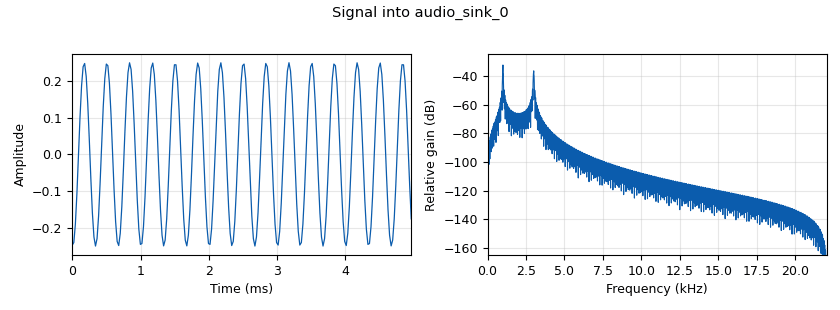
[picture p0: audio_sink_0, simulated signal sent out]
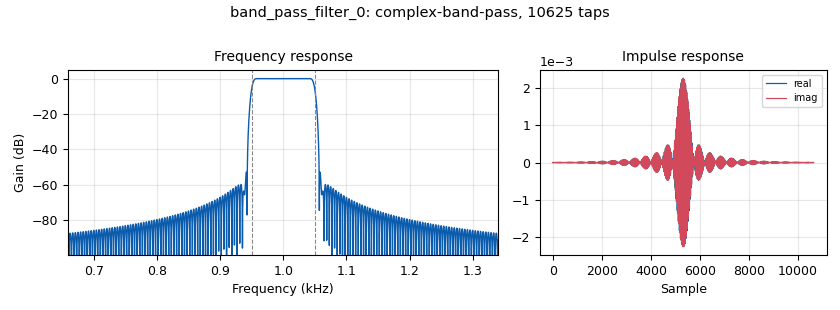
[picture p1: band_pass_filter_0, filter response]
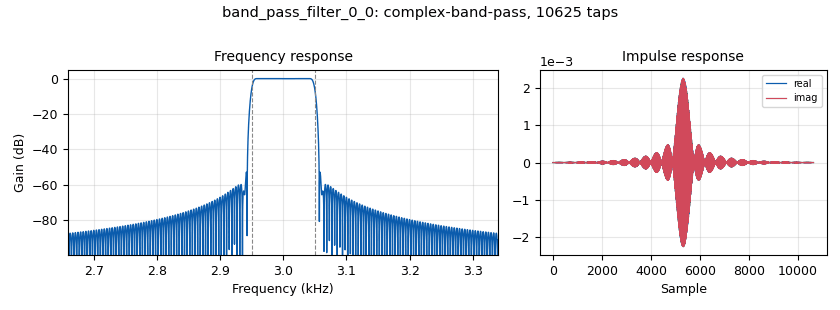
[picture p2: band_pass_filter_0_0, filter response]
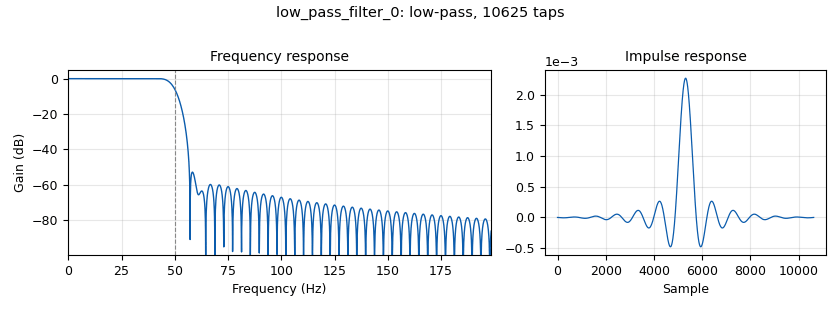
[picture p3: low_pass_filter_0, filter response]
options:
  parameters:
    author: Barry Duggan
    comment: 'Source: https://github.com/duggabe/gr-control/blob/main/Transmitters/pkt_fsk_xmt_rcv.grc'
    description: packet FSK xmt rcv v1
    generate_options: qt_gui
    id: pkt_fsk_xmt_rcv_v1
    output_language: python
    title: pkt_fsk_xmt_rcv_v1
  states: {}

blocks:
- name: baud
  id: variable
  parameters:
    value: '100'
  states: {}
- name: baud_rate_slider
  id: variable_qtgui_range
  parameters:
    rangeType: int
    start: '10'
    step: '1'
    stop: '4000'
    value: '50'
  states: {}
- name: bpf_half_width_Hz
  id: variable_qtgui_range
  parameters:
    rangeType: int
    start: '10'
    step: '1'
    stop: '200'
    value: '50'
  states: {}
- name: center
  id: variable
  parameters:
    value: (mark+space)/2
  states: {}
- name: decim
  id: variable
  parameters:
    value: '20'
  states: {}
- name: fsk_deviation
  id: variable
  parameters:
    value: (abs)(mark-space)
  states: {}
- name: inp_amp
  id: variable
  parameters:
    value: (mark/vco_max)-vco_offset
  states: {}
- name: lpf_cutoff_Hz
  id: variable_qtgui_range
  parameters:
    rangeType: int
    start: '1'
    step: '1'
    stop: '200'
    value: '50'
  states: {}
- name: mark
  id: variable
  parameters:
    value: '1000'
  states: {}
- name: phase_bw
  id: variable
  parameters:
    value: math.pi/32
  states: {}
- name: repeat
  id: variable
  parameters:
    value: (int)(samp_rate/baud_rate_slider)
  states: {}
- name: samp_rate
  id: variable
  parameters:
    comment: |-
      |----------------------------------------------------------------------------------------->
      User set values
    value: '44100'
  states: {}
- name: space
  id: variable
  parameters:
    value: '3000'
  states: {}
- name: sps
  id: variable
  parameters:
    value: (int)(repeat/decim)
  states: {}
- name: thresh
  id: variable
  parameters:
    value: '1'
  states: {}
- name: vco_max
  id: variable
  parameters:
    value: center+fsk_deviation
  states: {}
- name: vco_offset
  id: variable
  parameters:
    value: space/vco_max
  states: {}
- name: analog_random_uniform_source_x_0
  id: analog_random_uniform_source_x
  parameters:
    maximum: '255'
    minimum: '0'
    seed: '0'
    type: byte
  states: {state: disabled}
- name: audio_sink_0
  id: audio_sink
  parameters:
    samp_rate: samp_rate
  states: {}
- name: audio_source_0
  id: audio_source
  parameters:
    samp_rate: samp_rate
  states: {}
- name: band_pass_filter_0
  id: band_pass_filter
  parameters:
    decim: '1'
    gain: '1'
    high_cutoff_freq: mark+bpf_half_width_Hz
    low_cutoff_freq: mark-bpf_half_width_Hz
    samp_rate: samp_rate
    type: fir_filter_fcc
    width: '10'
    win: window.WIN_HAMMING
  states: {}
- name: band_pass_filter_0_0
  id: band_pass_filter
  parameters:
    decim: '1'
    gain: '1'
    high_cutoff_freq: space+bpf_half_width_Hz
    low_cutoff_freq: space-bpf_half_width_Hz
    samp_rate: samp_rate
    type: fir_filter_fcc
    width: '10'
    win: window.WIN_HAMMING
  states: {}
- name: blocks_add_const_vxx_0
  id: blocks_add_const_vxx
  parameters:
    comment: vco_offset
    const: vco_offset
    type: float
  states: {}
- name: blocks_char_to_float_0
  id: blocks_char_to_float
  parameters:
    scale: '1'
  states: {}
- name: blocks_complex_to_mag_0
  id: blocks_complex_to_mag
  parameters: {}
  states: {}
- name: blocks_complex_to_mag_0_0
  id: blocks_complex_to_mag
  parameters: {}
  states: {}
- name: blocks_multiply_const_vxx_0
  id: blocks_multiply_const_vxx
  parameters:
    comment: inp_amp
    const: inp_amp
    type: float
  states: {}
- name: blocks_repack_bits_bb_1_0
  id: blocks_repack_bits_bb
  parameters:
    endianness: gr.GR_MSB_FIRST
    k: '8'
    l: '1'
    len_tag_key: ''
  states: {}
- name: blocks_repack_bits_bb_1_0_0
  id: blocks_repack_bits_bb
  parameters:
    endianness: gr.GR_MSB_FIRST
    k: '8'
    l: '1'
    len_tag_key: ''
  states: {}
- name: blocks_repack_bits_bb_1_0_0_0
  id: blocks_repack_bits_bb
  parameters:
    endianness: gr.GR_MSB_FIRST
    k: '1'
    l: '8'
    len_tag_key: ''
  states: {}
- name: blocks_repeat_0
  id: blocks_repeat
  parameters:
    interp: repeat*2
    type: byte
  states: {}
- name: blocks_repeat_0_0
  id: blocks_repeat
  parameters:
    interp: repeat
    type: byte
  states: {}
- name: blocks_sub_xx_0
  id: blocks_sub_xx
  parameters:
    type: float
  states: {}
- name: blocks_uchar_to_float_0
  id: blocks_uchar_to_float
  parameters: {}
  states: {}
- name: blocks_vco_f_0
  id: blocks_vco_f
  parameters:
    amplitude: '0.25'
    samp_rate: samp_rate
    sensitivity: 2*math.pi*vco_max
  states: {}
- name: blocks_vector_source_x_0
  id: blocks_vector_source_x
  parameters:
    repeat: 'True'
    type: byte
    vector: (0x55, 0x55, 0x55)
  states: {}
- name: blocks_vector_source_x_0_0
  id: blocks_vector_source_x
  parameters:
    repeat: 'True'
    type: byte
    vector: (0x01, 0x02, 0x03, 0x04, 0x05, 0x06)
  states: {}
- name: blocks_xor_xx_0
  id: blocks_xor_xx
  parameters:
    type: byte
  states: {}
- name: digital_binary_slicer_fb_0
  id: digital_binary_slicer_fb
  parameters: {}
  states: {}
- name: epy_block_0
  id: epy_block
  parameters:
    _source_code: "\"\"\"\nEmbedded Python Blocks:\n\nEach time this file is saved, GRC will instantiate the first class it finds\nto get ports and parameters of your block. The arguments to __init__  will\nbe the parameters. All of them are required to have default values!\n\"\"\"\n\nimport numpy as np\nfrom gnuradio import gr\n\n\nclass ManchesterDecoder(gr.sync_block):\n    \"\"\"\n    In: stream of 0/1 at 2×bit rate (half‐bit aligned)\n    Out: decoded bits at bit rate with sync acquisition and tracking\n    10 → 0,   01 → 1,   else → drop, reacquire on transition\n    \"\"\"\n    def __init__(self):\n        gr.sync_block.__init__(\n            self,\n            name=\"Manchester Decoder\",\n            in_sig=[np.uint8],\n            out_sig=[np.uint8]\n        )\n        # State variables\n        self.locked = False       # whether synced to half-bit boundary\n        self.last_half = None     # store last half-bit if left over\n\n    def work(self, input_items, output_items):\n        inp = input_items[0]\n        out = output_items[0]\n        # Build a list for processing, prepending leftover half-bit\n        stream = []\n        if self.last_half is not None:\n            stream.append(self.last_half)\n        stream.extend(int(x) for x in inp)\n\n        decoded = []\n        i = 0\n        while i + 1 < len(stream):\n            a, b = stream[i], stream[i+1]\n            if not self.locked:\n                # Search for first valid transition to acquire sync\n                if a != b:\n                    # Acquire lock and decode first symbol\n                    bit = 0 if (a==1 and b==0) else 1\n                    decoded.append(bit)\n                    self.locked = True\n                    i += 2\n                else:\n                    i += 1\n            else:\n                # Already locked, check each pair\n                if a != b:\n                    bit = 0 if (a==1 and b==0) else 1\n                    decoded.append(bit)\n                    i += 2\n                else:\n                    # Lost sync, fall back to search mode\n                    self.locked = False\n                    i += 1\n\n        # If there's a leftover half-bit, save it\n        if i < len(stream):\n            self.last_half = stream[i]\n        else:\n            self.last_half = None\n\n        # Output decoded bits up to available output buffer\n        n_out = min(len(decoded), len(out))\n        for j in range(n_out):\n            out[j] = decoded[j]\n\n        return n_out\n\n"
  states: {}
- name: import_0
  id: import
  parameters:
    imports: import math
  states: {}
- name: low_pass_filter_0
  id: low_pass_filter
  parameters:
    cutoff_freq: lpf_cutoff_Hz
    decim: repeat
    gain: '1'
    samp_rate: samp_rate
    type: fir_filter_fff
    width: '10'
    win: window.WIN_HAMMING
  states: {}
- name: low_pass_filter_0_0
  id: low_pass_filter
  parameters:
    cutoff_freq: lpf_cutoff_Hz
    decim: repeat
    gain: '1'
    samp_rate: samp_rate
    type: fir_filter_fff
    width: '10'
    win: window.WIN_HAMMING
  states: {}
- name: note_0
  id: note
  parameters:
    comment: |-
      |----------------------------------------------------------------------------------------------------------------------------------------------------------|
      Calculated values:
      -   center freq = (mark+space)/2
      -   repeat = (int)(samp_rate/baud)
      -   fsk_deviation = (abs)(mark-space)
      -   vco_max = center+fsk_deviation
      -   vco_offset = space/vco_max
      -   inp_amp = (mark/vco_max)-vco_offset
      -   vco sensitivity = 2*math.pi*vco_max
  states: {}
- name: note_0_0
  id: note
  parameters:
    comment: |-
      |----------------------------------------------------------------------------------------->
      Calculated values:
      -   sps = (int)(repeat/decim)
      -  decim = 
      -   Quad Demod Gain = samp_rate/(2*math.pi*fsk_deviation)
  states: {}
- name: qtgui_freq_sink_x_0
  id: qtgui_freq_sink_x
  parameters:
    average: '0.05'
    bw: samp_rate
    color1: '"green"'
    ctrlpanel: 'True'
    fc: '0'
    fftsize: 1024*32
    label1: TX
    label2: RX
    nconnections: '2'
    type: complex
    wintype: window.WIN_FLATTOP
    ymax: '-10'
    ymin: '-90'
  states: {}
- name: qtgui_time_sink_x_0
  id: qtgui_time_sink_x
  parameters:
    nconnections: '2'
    size: '1024'
    srate: samp_rate
    type: float
  states: {}
- name: qtgui_time_sink_x_0_0
  id: qtgui_time_sink_x
  parameters:
    marker1: '0'
    size: '32'
    srate: samp_rate/(repeat*8)
    type: float
    ymax: '256'
  states: {}
- name: virtual_sink_0
  id: virtual_sink
  parameters:
    stream_id: t2
  states: {}
- name: virtual_sink_0_0
  id: virtual_sink
  parameters:
    stream_id: t1
  states: {}
- name: virtual_source_0
  id: virtual_source
  parameters:
    stream_id: t2
  states: {}
- name: virtual_source_0_0
  id: virtual_source
  parameters:
    stream_id: t1
  states: {}

connections:
- [analog_random_uniform_source_x_0, '0', virtual_sink_0_0, '0']
- [audio_source_0, '0', band_pass_filter_0, '0']
- [audio_source_0, '0', band_pass_filter_0_0, '0']
- [band_pass_filter_0, '0', blocks_complex_to_mag_0, '0']
- [band_pass_filter_0, '0', qtgui_freq_sink_x_0, '0']
- [band_pass_filter_0_0, '0', blocks_complex_to_mag_0_0, '0']
- [band_pass_filter_0_0, '0', qtgui_freq_sink_x_0, '1']
- [blocks_add_const_vxx_0, '0', blocks_vco_f_0, '0']
- [blocks_char_to_float_0, '0', qtgui_time_sink_x_0_0, '0']
- [blocks_complex_to_mag_0, '0', low_pass_filter_0, '0']
- [blocks_complex_to_mag_0_0, '0', low_pass_filter_0_0, '0']
- [blocks_multiply_const_vxx_0, '0', blocks_add_const_vxx_0, '0']
- [blocks_repack_bits_bb_1_0, '0', blocks_repeat_0, '0']
- [blocks_repack_bits_bb_1_0_0, '0', blocks_repeat_0_0, '0']
- [blocks_repack_bits_bb_1_0_0_0, '0', blocks_char_to_float_0, '0']
- [blocks_repeat_0, '0', blocks_xor_xx_0, '0']
- [blocks_repeat_0_0, '0', blocks_xor_xx_0, '1']
- [blocks_sub_xx_0, '0', digital_binary_slicer_fb_0, '0']
- [blocks_uchar_to_float_0, '0', virtual_sink_0, '0']
- [blocks_vco_f_0, '0', audio_sink_0, '0']
- [blocks_vector_source_x_0, '0', blocks_repack_bits_bb_1_0_0, '0']
- [blocks_vector_source_x_0_0, '0', virtual_sink_0_0, '0']
- [blocks_xor_xx_0, '0', blocks_uchar_to_float_0, '0']
- [digital_binary_slicer_fb_0, '0', epy_block_0, '0']
- [epy_block_0, '0', blocks_repack_bits_bb_1_0_0_0, '0']
- [low_pass_filter_0, '0', blocks_sub_xx_0, '1']
- [low_pass_filter_0, '0', qtgui_time_sink_x_0, '0']
- [low_pass_filter_0_0, '0', blocks_sub_xx_0, '0']
- [low_pass_filter_0_0, '0', qtgui_time_sink_x_0, '1']
- [virtual_source_0, '0', blocks_multiply_const_vxx_0, '0']
- [virtual_source_0_0, '0', blocks_repack_bits_bb_1_0, '0']

metadata:
  file_format: 1
  grc_version: 3.10.9.2
